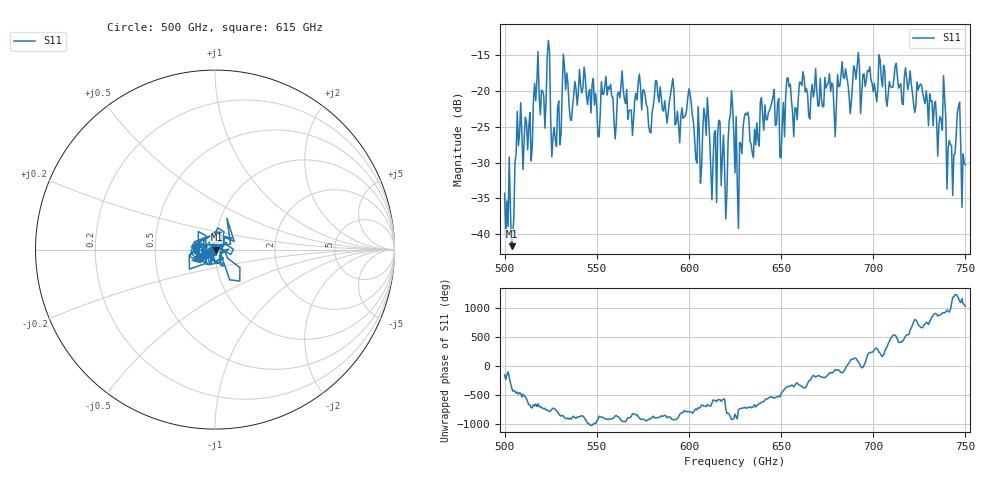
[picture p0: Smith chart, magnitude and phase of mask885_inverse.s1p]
!Created with skrf (http://scikit-rf.org).
# GHz S MA R 50.0
!freq magS11 angS11
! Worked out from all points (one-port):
!   401 points, 500 GHz to 750 GHz, reference 50 ohm
!   lowest |S11| = -41.6 dB at 503.8 GHz (marker M1), VSWR 1.02, Z = 50.8 + j0.0052 ohm
!   |S11| at or under -10 dB: start of sweep to end of sweep
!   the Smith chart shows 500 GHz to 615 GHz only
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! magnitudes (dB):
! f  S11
! 500 GHz  -34.3
! 503.8 GHz  -41.6
! 507.5 GHz  -27.7
! 513.8 GHz  -23.0
! 516.9 GHz  -21.4
! 523.8 GHz  -13.0
! 526.9 GHz  -25.1
! 531.2 GHz  -20.1
! 562.5 GHz  -21.0
! 578.8 GHz  -25.7
! 590.6 GHz  -19.4
! 593.8 GHz  -22.9
! 600.6 GHz  -20.4
! 605.6 GHz  -26.0
! 609.4 GHz  -26.2
! 619.4 GHz  -31.1
! 622.5 GHz  -23.4
! 625 GHz  -31.4
! 627.5 GHz  -27.2
! 631.2 GHz  -23.4
! 635 GHz  -29.3
! 656.2 GHz  -23.1
! 687.5 GHz  -23.2
! 718.8 GHz  -19.9
! 738.1 GHz  -17.9
! 743.1 GHz  -34.6
! 746.2 GHz  -22.3
! 750 GHz  -30.3
